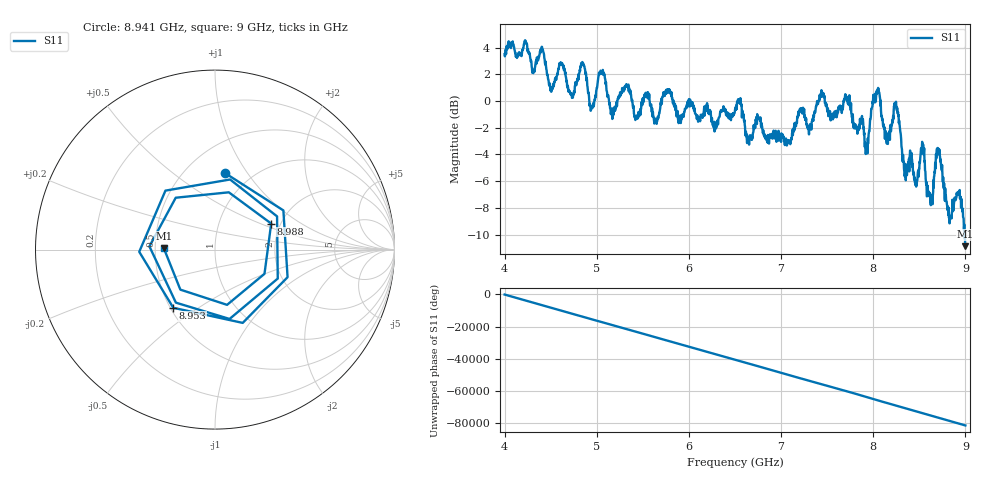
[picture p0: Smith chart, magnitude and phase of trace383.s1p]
! Created with skrf 1.8.0 (http://scikit-rf.org).
# Hz S RI R 50.0
!freq ReS11 ImS11
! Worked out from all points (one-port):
!   1601 points, 4 GHz to 9 GHz, reference 50 ohm
!   lowest |S11| = -10.9 dB at 9 GHz (marker M1), VSWR 1.80, Z = 27.8 + j0.562 ohm
!   |S11| at or under -10 dB: 8.990239 GHz to end of sweep
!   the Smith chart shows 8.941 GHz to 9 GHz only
!   S11 on the Smith chart (normalised r, x): 8.941 GHz: 0.75, +0.79; 8.953 GHz: 0.52, -0.40; 8.988 GHz: 1.79, +0.59; 9 GHz: 0.56, +0.01
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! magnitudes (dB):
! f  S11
! 4 GHz  3.5
! 4.403 GHz  4.1
! 4.509 GHz  0.8
! 4.625 GHz  2.8
! 4.734 GHz  0.2
! 4.85 GHz  2.7
! 4.944 GHz  -0.5
! 5.047 GHz  2.0
! 5.162 GHz  -0.6
! 5.25 GHz  0.3
! 5.875 GHz  -0.9
! 6.5 GHz  -0.7
! 7.125 GHz  -2.1
! 7.444 GHz  0.5
! 7.75 GHz  -0.4
! 7.925 GHz  -3.3
! 8.034 GHz  0.5
! 8.15 GHz  -2.8
! 8.25 GHz  -0.4
! 8.375 GHz  -5.0
! 8.534 GHz  -3.2
! 8.625 GHz  -7.8
! 8.706 GHz  -3.7
! 8.825 GHz  -8.7
! 8.941 GHz  -7.3
! 8.953 GHz  -8.0
! 8.988 GHz  -9.2
! 9 GHz  -10.9
